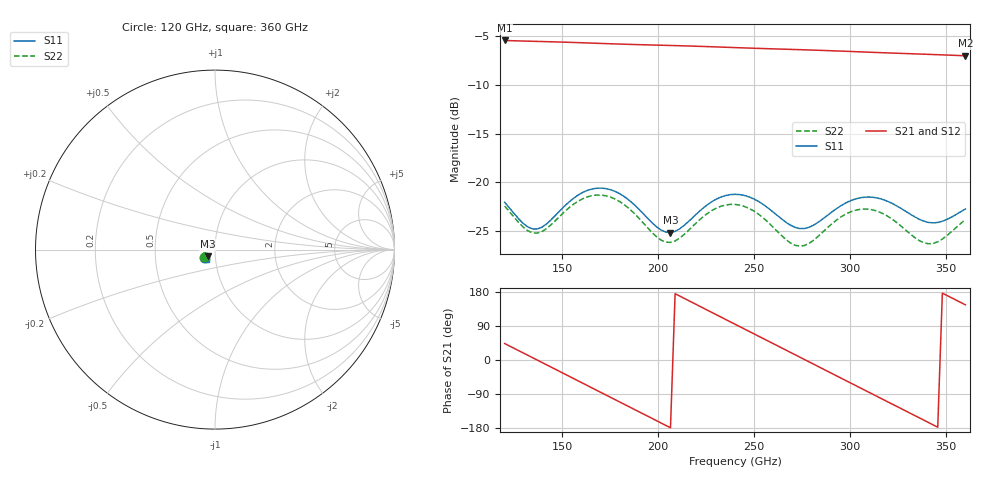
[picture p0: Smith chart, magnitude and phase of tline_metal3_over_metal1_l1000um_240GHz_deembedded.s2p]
! Created with skrf 2.0.1 (http://scikit-rf.org).
# GHz S DB R 50.0
!freq dBS11 angS11 dBS21 angS21 dBS12 angS12 dBS22 angS22
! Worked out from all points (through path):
!   101 points, 120 GHz to 360 GHz, reference 50 ohm
!   highest |S21| = -5.43 dB at 120 GHz (marker M1); lowest = -7.0 dB at 360 GHz (marker M2)
!   group delay of S21, straight-line fit = 7.15 ps
!   lowest |S11| = -25.1 dB at 206.4 GHz (marker M3), VSWR 1.12, Z = 45.9 - j3.38 ohm
!   |S11| at or under -10 dB: start of sweep to end of sweep
!   |S22| runs from -26.5 to -21.3 dB; largest |S21 - S12| = 3e-16
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120  -22.04 -141.6  -5.43 43.5  -5.43 43.5  -22.43 -144.8
129.6  -24.20 -138.3  -5.49 18.9  -5.49 18.9  -24.58 -142.3
139.2  -24.63 -124.2  -5.54 -5.8  -5.54 -5.8  -25.07 -129.2
148.8  -22.92 -117.5  -5.60 -30.5  -5.60 -30.5  -23.47 -123.2
160.8  -21.02 -124.8  -5.67 -61.5  -5.67 -61.5  -21.67 -131.0
170.4  -20.59 -135.5  -5.74 -86.2  -5.74 -86.2  -21.31 -142.1
180  -21.17 -145.9  -5.81 -110.9  -5.81 -110.9  -21.98 -153.0
192  -23.17 -152.2  -5.87 -141.8  -5.87 -141.8  -24.12 -159.7
201.6  -24.90 -145.5  -5.92 -166.5  -5.92 -166.5  -25.94 -152.5
206.4  -25.15 -138.4  -5.95 -178.9  -5.95 -178.9  -26.16 -145.2
220.8  -23.09 -127.0  -6.03 143.9  -6.03 143.9  -23.98 -134.6
240  -21.23 -140.4  -6.17 94.4  -6.17 94.4  -22.27 -150.1
249.6  -21.68 -148.8  -6.23 69.7  -6.23 69.7  -22.92 -159.3
261.6  -23.33 -153.1  -6.31 38.9  -6.31 38.9  -24.94 -163.4
271.2  -24.61 -146.7  -6.36 14.1  -6.36 14.1  -26.45 -154.6
280.8  -24.41 -135.9  -6.43 -10.6  -6.43 -10.6  -25.96 -141.5
290.4  -23.05 -131.8  -6.49 -35.4  -6.49 -35.4  -24.26 -138.2
302.4  -21.72 -137.1  -6.58 -66.3  -6.58 -66.3  -22.88 -145.6
312  -21.54 -144.4  -6.66 -91.0  -6.66 -91.0  -22.84 -154.3
321.6  -22.14 -150.3  -6.73 -115.6  -6.73 -115.6  -23.74 -160.9
340.8  -24.11 -145.8  -6.86 -165.0  -6.86 -165.0  -26.30 -151.0
360  -22.73 -135.5  -7.01 145.6  -7.01 145.6  -23.82 -138.0
